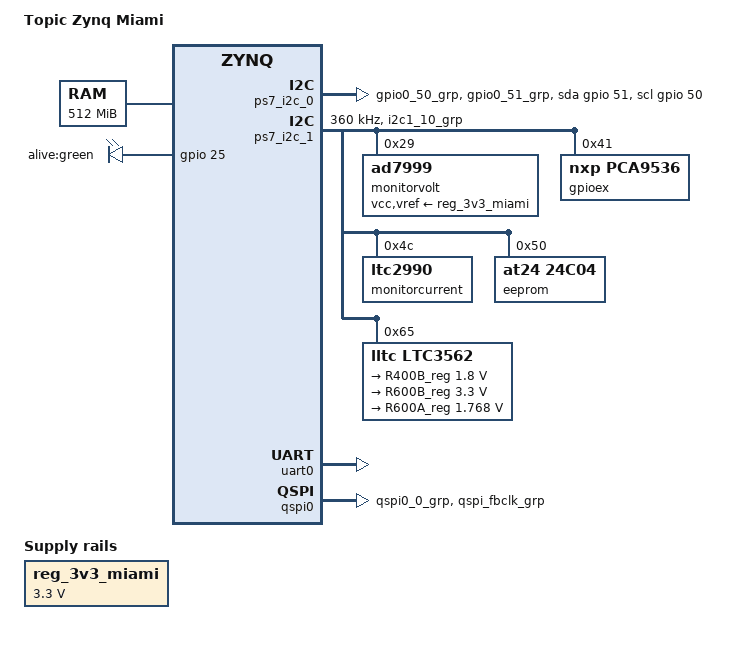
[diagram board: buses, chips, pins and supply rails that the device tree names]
/include/ "zynq.dtsi"

/ {
	model = "Topic Zynq Miami";

	/* Arrange that UART0 is ttyPS0 */
	aliases {
		serial0 = &uart0;
		serial1 = &uart1;
	};

	memory {
		device_type = "memory";
		reg = <0x000000000 0x20000000>;
	};

	chosen {
		/* Boot using squashfs system, nice for QSPI NOR flash */
		bootargs = "console=ttyPS0,115200 root=/dev/mtdblock5 ro rootfstype=squashfs rootwait quiet";
		/* bootargs = "console=ttyPS0,115200 ubi.mtd=qspi-rootfs root=ubi0:qspi-rootfs rw rootfstype=ubifs rootwait"; */
		linux,stdout-path = "/amba@0/uart@e0000000";
	};

	/* Represents the 3v3 supply on the Miami SOM. */
	reg_3v3_miami: regulator_3v3_miami {
		compatible = "regulator-fixed";
		regulator-name = "3v3-miami";
		regulator-min-microvolt = <3300000>;
		regulator-max-microvolt = <3300000>;
	};
};

&sdhci0 {
	disable-wp; /* We don't have a write-protect detection */
};

&primary_flash {
	/* Specify flash chip to expect */
	compatible = "n25q256a";
	/* Max frequency for quad read is 108MHz according to data sheet */
	spi-max-frequency = <108000000>;
	/* Flash chip is 32MB, so add 16MB to the rootfs partition */
	partition@qspi-rootfs {
		label = "qspi-rootfs";
		reg = <0x480000 0x1b80000>;
	};
	/* Everything? */
	partition@qspi-all {
		label = "qspi-all";
		reg = <0x0 0x2000000>;
	};
};

&axi {
		ps7_i2c_0: ps7-i2c@e0004000 {
			bus-id = <0>;
			compatible = "i2c-gpio";
			gpios = <&gpio 51 0 /* sda */
				 &gpio 50 0 /* scl */
				>;
			i2c-gpio,delay-us = <3>;	/* 333 kHz (?) */
			#address-cells = <1>;
			#size-cells = <0>;
			pinctrl-names = "default";
			pinctrl-0 = <&pinctrl_i2c0_default>;
		};

		ps7_i2c_1: ps7-i2c@e0005000 {
			clock-frequency = <360000>;
			clocks = <&clkc 39>;
			compatible = "cdns,i2c-r1p10";
			interrupt-parent = <&gic>;
			interrupts = <0 48 4>;
			reg = <0xe0005000 0x1000>;
			xlnx,has-interrupt = <0x0>;
			#address-cells = <1>;
			#size-cells = <0>;
			pinctrl-names = "default";
			pinctrl-0 = <&pinctrl_i2c1_default>;
			/* AD converter for voltage monitoring */
			monitorvolt: ad799x@29 {
				compatible = "ad7999";
				reg = <0x29>;
				vcc-supply = <&reg_3v3_miami>;
				vref-supply = <&reg_3v3_miami>;
			};
			/* GPIO expander */
			gpioex: pca953x@41 {
				compatible = "nxp,pca9536";
				reg = <0x41>;
				/* 0=USB_RESET 1=VTT_SHDWN_N 2=V_PRESENT 3=DEBUG_PRESENT */
				gpio-controller;
				#gpio-cells = <2>;
			};
			/* Current monitoring chip */
			monitorcurrent: ltc2990@4C {
				compatible = "ltc2990";
				reg = <0x4C>;
			};
			/* EEPROM */
			eeprom: eeprom@50 {
				compatible = "at24,24c04";
				reg = <0x50>;
			};
			/* IO Voltage controller */
			ltc3562: ltc3562@65 {
				compatible = "lltc,ltc3562";
				reg = <0x65>; /* 0b1100101 */
				regulators {
					R400B_reg: R400B {
						/* Supplies VCCO2 to bank 34 */
						regulator-min-microvolt = <1800000>;
						regulator-max-microvolt = <1800000>;
						regulator-boot-on;
						regulator-always-on;
						lltc,operating-mode = <1>;
					};
					R600B_reg: R600B {
						/* Supplies VCCO0 to Bank 13 */
						regulator-min-microvolt = <3300000>;
						regulator-max-microvolt = <3300000>;
						regulator-boot-on;
						regulator-always-on;
					};
					/* R400A Not connected */
					R600A_reg: R600A {
						/* Supplies VCCO1 to bank 35 */
						/* We actually want 1v8, but the wiring of
						 * the regulator is weird so you can only get
						 * 1768mV */
						regulator-min-microvolt = <1768000>;
						regulator-max-microvolt = <1768000>;
						lltc,fb-voltage-divider = <316 100>;
						regulator-boot-on;
						regulator-always-on;
					};
				};
			};
		};

		smcc: memory-controller@e000e000 {
			#address-cells = <1>;
			#size-cells = <1>;
			status = "disabled";
			clock-names = "memclk", "aclk";
			clocks = <&clkc 11>, <&clkc 44>;
			compatible = "arm,pl353-smc-r2p1";
			interrupt-parent = <&gic>;
			interrupts = <0 18 4>;
			ranges ;
			reg = <0xe000e000 0x1000>;
			nand0: flash@e1000000 {
				status = "disabled";
				compatible = "arm,pl353-nand-r2p1";
				reg = <0xe1000000 0x1000000>;
				pinctrl-names = "default";
				pinctrl-0 = <&pinctrl_smc0_nand_default>;

				/* Micron MT29F2G16ABBFAH4 timings */
				arm,nand-cycle-t0 = <0x4>;
				arm,nand-cycle-t1 = <0x4>;
				arm,nand-cycle-t2 = <0x1>;
				arm,nand-cycle-t3 = <0x2>;
				arm,nand-cycle-t4 = <0x2>;
				arm,nand-cycle-t5 = <0x2>;
				arm,nand-cycle-t6 = <0x4>;

				#address-cells = <0x1>;
				#size-cells = <0x1>;
				partition@nand-all {
					label = "nand-all";
					reg = <0x0 0x10000000>; /* 256 MB */
				};
				/* to mount as UBI:
				   ubiattach /dev/ubi_ctrl -m 0
				   ubimkvol /dev/ubi0 -N nand -m
				   mkdir /media/nand
				   mount -t ubifs /dev/ubi0_0 /media/nand
				 */
			};
			nor0: flash@e2000000 {
				status = "disabled";
				compatible = "cfi-flash";
				reg = <0xe2000000 0x2000000>;
				#address-cells = <1>;
				#size-cells = <1>;
			};
		};
};

/ {
	leds: leds {
		compatible = "gpio-leds";
		pinctrl-names = "default";
		pinctrl-0 = <&pinctrl_leds_default>;
		alive {
			label = "alive:green";
			gpios = <&gpio 25 0>;
			linux,default-trigger = "heartbeat";
		};
	};
};

&uart0 {
	status = "okay";
};

&eth {
	status = "disabled";
};

&usb {
	status = "disabled";
};

&qspi0 {
	pinctrl-names = "default";
	pinctrl-0 = <&pinctrl_qspi0_default>;
};

&pinctrl0 {
	pinctrl_qspi0_default: qspi0_default {
		mux {
			groups = "qspi0_0_grp";
			function = "qspi0";
		};
		mux-fbclk {
			groups = "qspi_fbclk_grp";
			function = "qspi_fbclk";
		};
		conf {
			groups = "qspi0_0_grp", "qspi_fbclk_grp";
			slew-rate = <0>;
			io-standard = <1>;
			bias-disable;
		};
	};

	pinctrl_smc0_nand_default: smc0_nand_default {
		mux {
			groups = "smc0_nand_grp";
			function = "smc0_nand";
		};
	};

	pinctrl_leds_default: leds-default {
		mux {
			groups = "gpio0_25_grp";
			function = "gpio0";
		};

		conf {
			groups = "gpio0_25_grp";
			slew-rate = <0>;
			io-standard = <1>;
		};
	};

	pinctrl_i2c0_default: i2c0-default {
		mux {
			groups = "gpio0_50_grp", "gpio0_51_grp";
			function = "gpio0";
		};

		conf {
			groups = "gpio0_50_grp", "gpio0_51_grp";
			bias-pull-up;
			slew-rate = <0>;
			io-standard = <1>;
		};
	};

	pinctrl_i2c1_default: i2c1-default {
		mux {
			groups = "i2c1_10_grp";
			function = "i2c1";
		};

		conf {
			groups = "i2c1_10_grp";
			bias-pull-up;
			slew-rate = <0>;
			io-standard = <1>;
		};
	};
};
